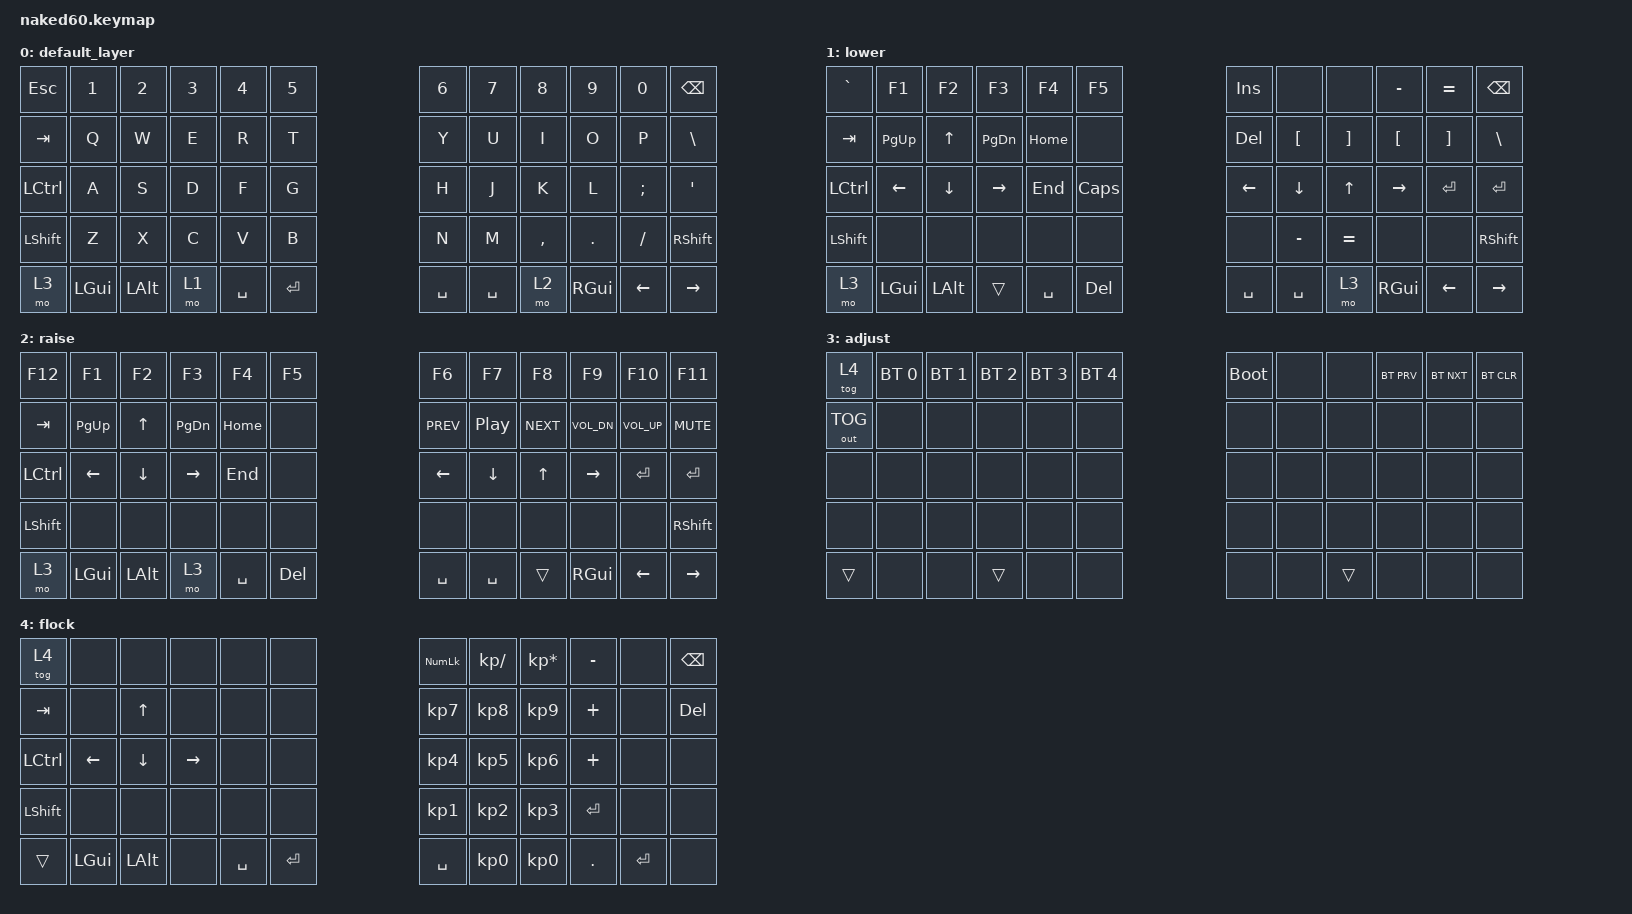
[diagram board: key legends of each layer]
/*
 * Copyright (c) 2020 The ZMK Contributors
 *
 * SPDX-License-Identifier: MIT
 */

#include <behaviors.dtsi>
#include <dt-bindings/zmk/keys.h>
#include <dt-bindings/zmk/bt.h>
#include <dt-bindings/zmk/outputs.h>


/ {
    keymap {
        compatible = "zmk,keymap";

        default_layer {
            // ----------------------------------------------------------------------------------------------------------
            // |  ESC  |  1   |  2   |  3   |  4   |  5   |-------|-------|   6   |  7    |  8   |  9   |   0   | BSPC  |
            // |  TAB  |  Q   |  W   |  E   |  R   |  T   |-------|-------|   Y   |  U    |  I   |  O   |   P   |  \    |
            // |  CTRL |  A   |  S   |  D   |  F   |  G   |-------|-------|   H   |  J    |  K   |  L   |   ;   |  '    |
            // | SHIFT |  Z   |  X   |  C   |  V   |  B   |-------|-------|   N   |  M    |  ,   |  .   |   /   | SHIFT |
            // |-------|ADJUST| LGUI | LALT |LOWER |SPACE | ENTER | SPACE | SPACE | RAISE | RGUI | LEFT | RIGHT |-------|


            bindings = <
                &kp ESC    &kp N1 &kp N2   &kp N3   &kp N4   &kp N5                      &kp N6     &kp N7   &kp N8    &kp N9   &kp N0    &kp BSPC
                &kp TAB    &kp Q  &kp W    &kp E    &kp R    &kp T                       &kp Y      &kp U    &kp I     &kp O    &kp P     &kp BSLH
                &kp LCTRL  &kp A  &kp S    &kp D    &kp F    &kp G                       &kp H      &kp J    &kp K     &kp L    &kp SEMI  &kp SQT
                &kp LSHFT  &kp Z  &kp X    &kp C    &kp V    &kp B                       &kp N      &kp M    &kp COMMA &kp DOT  &kp FSLH  &kp RSHFT
                           &mo 3  &kp LGUI &kp LALT &mo 1    &kp SPACE &kp RET &kp SPACE &kp SPACE  &mo 2    &kp RGUI  &kp LEFT &kp RIGHT 
            >;
        };

        lower {
            // ----------------------------------------------------------------------------------------------------------
            // |   `   |  F1  |  F2  |  F3  |  F4  |  F5  |-------|-------|  INS  |  NA  |  NA  |   -   |   =   |  BSPC |
            // |  TAB  | PGUP |  UP  |PGDOWN| HOME |  NA  |-------|-------|  DEL  |  [   |  ]   |   [   |   ]   |   \   |
            // |  CTRL | LEFT | DOWN |RIGHT | END  |CAPSLK|-------|-------|  LEFT | DOWN |  UP  | RIGHT | ENTER | ENTER |
            // | SHIFT |  NA  |  NA  |  NA  |  NA  |  NA  |-------|-------|  NA   |  -   |  =   |  NA   |   NA  | SHIFT |       
            // |-------|ADJUST| LGUI | LALT |      | SPACE|  DEL  | SPACE | SPACE |ADJUST| RGUI | LEFT  | RIGHT |-------|
            bindings = <
                &kp GRAVE &kp F1    &kp F2   &kp F3    &kp F4    &kp F5                      &kp INS    &none     &none     &kp MINUS &kp EQUAL &kp BSPC
                &kp TAB   &kp PG_UP &kp UP   &kp PG_DN &kp HOME  &none                       &kp DEL    &kp LBKT  &kp RBKT  &kp LBKT  &kp RBKT  &kp BSLH
                &kp LCTRL &kp LEFT  &kp DOWN &kp RIGHT &kp END   &kp CAPS                    &kp LEFT   &kp DOWN  &kp UP    &kp RIGHT &kp RET   &kp RET
                &kp LSHFT &none     &none    &none     &none     &none                       &none      &kp MINUS &kp EQUAL &none     &none     &kp RSHFT
                          &mo 3     &kp LGUI &kp LALT  &trans    &kp SPACE &kp DEL &kp SPACE &kp SPACE  &mo 3     &kp RGUI  &kp LEFT  &kp RIGHT 
            >;
        };

        raise {
            // ----------------------------------------------------------------------------------------------------------
            // |  F12  |  F1  |  F2  |  F3  |  F4  |  F5  |-------|-------|  F6   |  F7  |  F8  |   F9  |  F10  |  F11  |
            // |  TAB  | PGUP |  UP  |PGDOWN| HOME |  NA  |-------|-------|  PREV | PLAY | NEXT |  VOL- |  VOL+ |  MUTE |
            // |  CTRL | LEFT | DOWN |RIGHT | END  |  NA  |-------|-------|  LEFT | DOWN |  UP  | RIGHT | ENTER | ENTER |
            // | SHIFT |  NA  |  NA  |  NA  |  NA  |  NA  |-------|-------|  NA   |  NA  |  NA  |  NA   |  NA   | SHIFT |       
            // |-------|ADJUST| LGUI | LALT |ADJUST| SPACE| SNIP  | SPACE | SPACE |      | RGUI |  LEFT | RIGHT |-------|
            bindings = <
                &kp F12   &kp F1    &kp F2   &kp F3    &kp F4   &kp F5                      &kp F6     &kp F7   &kp F8     &kp F9       &kp F10      &kp F11
                &kp TAB   &kp PG_UP &kp UP   &kp PG_DN &kp HOME &none                       &kp C_PREV &kp C_PP &kp C_NEXT &kp C_VOL_DN &kp C_VOL_UP &kp C_MUTE
                &kp LCTRL &kp LEFT  &kp DOWN &kp RIGHT &kp END  &none                       &kp LEFT   &kp DOWN &kp UP     &kp RIGHT    &kp RET      &kp RET
                &kp LSHFT &none     &none    &none     &none    &none                       &none      &none    &none      &none        &none        &kp RSHFT
                          &mo 3     &kp LGUI &kp LALT  &mo 3    &kp SPACE &kp DEL &kp SPACE &kp SPACE  &trans   &kp RGUI   &kp LEFT       &kp RIGHT 
            >;
        };

        adjust {
            // -----------------------------------------------------------------------------------------------------
            // |tog(4)| BT 0 | BT 1 | BT 2 | BT 3 | BT 4 |------|------|BOOTLD|  NA  |  NA  |BT PREV|BT NXT|BT CLEAR|
            // |TOGOUT|  NA  |  NA  |  NA  |  NA  |  NA  |------|------|  NA  |  NA  |  NA  |   NA  |  NA  |   NA   |
            // |  NA  |  NA  |  NA  |  NA  |  NA  |  NA  |------|------|  NA  |  NA  |  NA  |   NA  |  NA  |   NA   |
            // |  NA  |  NA  |  NA  |  NA  |  NA  |  NA  |------|------|  NA  |  NA  |  NA  |   NA  |  NA  |   NA   |
            // |------|      |  NA  |  NA  |      |  NA  |  NA  |  NA  |  NA  |      |  NA  |   NA  |  NA  |--------|
            bindings = <
                &tog 4       &bt BT_SEL 0 &bt BT_SEL 1 &bt BT_SEL 2 &bt BT_SEL 3 &bt BT_SEL 4              &bootloader &none  &none  &bt BT_PRV &bt BT_NXT &bt BT_CLR
                &out OUT_TOG &none        &none        &none        &none        &none                     &none       &none  &none  &none      &none      &none 
                &none        &none        &none        &none        &none        &none                     &none       &none  &none  &none      &none      &none 
                &none        &none        &none        &none        &none        &none                     &none       &none  &none  &none      &none      &none 
                             &trans       &none        &none        &trans       &none         &none &none &none       &trans &none  &none      &none 
            >;
        };

        flock {
            // ----------------------------------------------------------------------------------------------------------
            // |tog(4)|  NA  |  NA  |  NA  |  NA  |  NA  |------|------|NUMLK|  /  |  *  |  -  |  NA  | BSPC |
            // | TAB  |  NA  |  UP  |  NA  |  NA  |  NA  |------|------|  7  |  8  |  9  |  +  |  NA  |  DEL |
            // | CTRL | LEFT | DOWN | RGHT |  NA  |  NA  |------|------|  4  |  5  |  6  |  +  |  NA  |  NA  |
            // |SHIFT |  NA  |  NA  |  NA  |  NA  |  NA  |------|------|  1  |  2  |  3  |ENTER|  NA  |  NA  |
            // |------|ADJUST| LGUI | LALT |  NA  |SPACE |ENTER |SPACE |  0  |  0  |  .  |ENTER|  NA  |------|
            bindings = <
                &tog 4       &none    &none    &none     &none &none                       &kp KP_NUMLOCK &kp KP_DIVIDE &kp KP_MULTIPLY &kp MINUS &none &kp BSPC
                &kp TAB      &none    &kp UP   &none     &none &none                       &kp KP_N7      &kp KP_N8     &kp KP_N9       &kp PLUS  &none &kp DEL 
                &kp LCTRL    &kp LEFT &kp DOWN &kp RIGHT &none &none                       &kp KP_N4      &kp KP_N5     &kp KP_N6       &kp PLUS  &none &none 
                &kp LSHFT    &none    &none    &none     &none &none                       &kp KP_N1      &kp KP_N2     &kp KP_N3       &kp RET   &none &none 
                             &trans   &kp LGUI &kp LALT  &none &kp SPACE &kp RET &kp SPACE &kp KP_N0      &kp KP_N0     &kp DOT         &kp RET   &none 
            >;
        };
    };
};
